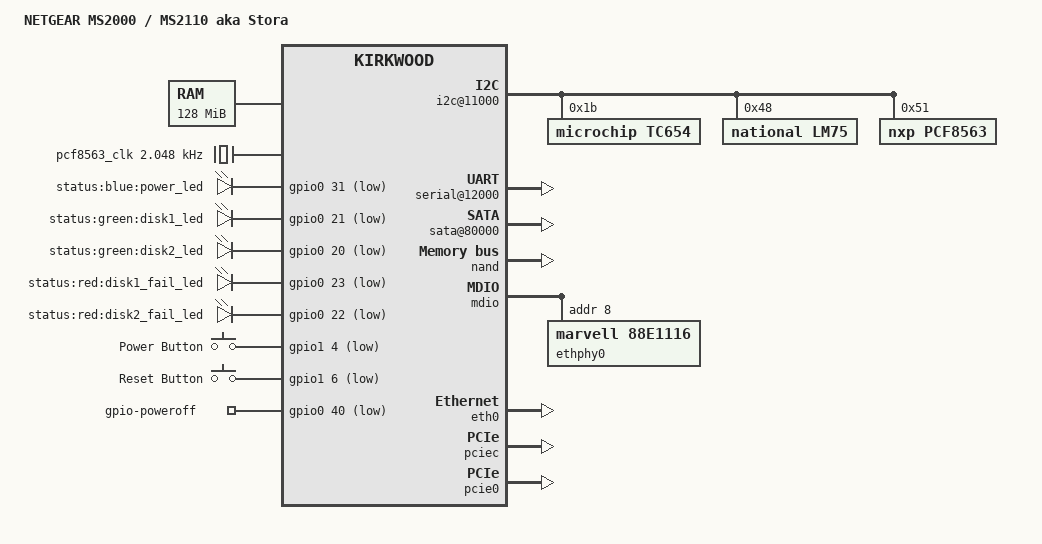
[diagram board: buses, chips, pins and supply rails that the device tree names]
// SPDX-License-Identifier: GPL-2.0+
/*
 * Device Tree file for NETGEAR ReadyNAS NV+ v2
 *
 * Copyright (C) 2013, Arnaud EBALARD <arno@natisbad.org>
 */

/dts-v1/;

#include "kirkwood.dtsi"
#include "kirkwood-6281.dtsi"

/ {
	model = "NETGEAR MS2000 / MS2110 aka Stora";
	compatible = "netgear,stora", "netgear,ms2000", "netgear,ms2110", "marvell,kirkwood-88f6281", "marvell,kirkwood";

	memory { /* 256 MB */
		device_type = "memory";
		reg = <0x00000000 0x8000000>;
	};

	chosen {
		bootargs = "console=ttyS0,115200n8 earlyprintk";
		stdout-path = &uart0;
	};

	ocp@f1000000 {
		pinctrl: pin-controller@10000 {
			pmx_button_power: pmx-button-power {
				marvell,pins = "mpp36";
				marvell,function = "gpio";
			};

			pmx_button_reset: pmx-button-reset {
				marvell,pins = "mpp38";
				marvell,function = "gpio";
			};

			pmx_led_blue_power: pmx-led-blue-power {
				marvell,pins = "mpp32";
				marvell,function = "gpio";
			};

			pmx_led_green_disk1: pmx-led-green-disk1 {
				marvell,pins = "mpp21";
				marvell,function = "gpio";
			};

			pmx_led_green_disk2: pmx-led-green-disk2 {
				marvell,pins = "mpp20";
				marvell,function = "gpio";
			};

			pmx_led_red_disk1: pmx-led-red-disk1 {
				marvell,pins = "mpp23";
				marvell,function = "gpio";
			};

			pmx_led_red_disk2: pmx-led-red-disk2 {
				marvell,pins = "mpp22";
				marvell,function = "gpio";
			};

			pmx_poweroff: pmx-poweroff {
				marvell,pins = "mpp40";
				marvell,function = "gpio";
			};

			pmx_fan_tacho: pmx-fan-tacho {
				marvell,pins = "mpp41";
				marvell,function = "gpio";
			};
		};

		clocks {
			pcf8563_clk: pcf8563-oscillator {
				 compatible = "fixed-clock";
				 #clock-cells = <0>;
				 clock-frequency = <2048>;
			};
		};

		i2c@11000 {
			status = "okay";

			tc654@1b {
				compatible = "microchip,tc654";
				reg = <0x1b>;
			};

			lm75@48 {
				compatible = "national,lm75";
				reg = <0x48>;
			};

			pcf8563@51 {
				compatible = "nxp,pcf8563";
				reg = <0x51>;
			};
		};

		serial@12000 {
			status = "okay";
		};

		sata@80000 {
			status = "okay";
			phy-names = "port0", "port1";
			nr-ports = <2>;
		};
	};

	gpio-leds {
		compatible = "gpio-leds";
		pinctrl-0 = < &pmx_led_blue_power
			      &pmx_led_green_disk1 &pmx_led_green_disk2
			      &pmx_led_red_disk1 &pmx_led_red_disk2 >;
		pinctrl-names = "default";

		power_led {
			label = "status:blue:power_led";
			gpios = <&gpio0 31 GPIO_ACTIVE_LOW>;
			linux,default-trigger = "default-on";
		};

		disk1_led {
			label = "status:green:disk1_led";
			gpios = <&gpio0 21 GPIO_ACTIVE_LOW>;
			linux,default-trigger = "ata1";
		};

		disk2_led {
			label = "status:green:disk2_led";
			gpios = <&gpio0 20 GPIO_ACTIVE_LOW>;
			linux,default-trigger = "ata2";
		};

		disk1_fail_led {
			label = "status:red:disk1_fail_led";
			gpios = <&gpio0 23 GPIO_ACTIVE_LOW>;
		};

		disk2_fail_led {
			label = "status:red:disk2_fail_led";
			gpios = <&gpio0 22 GPIO_ACTIVE_LOW>;
		};
	};

	gpio-keys {
		compatible = "gpio-keys";
		pinctrl-0 = <&pmx_button_power &pmx_button_reset >;
		pinctrl-names = "default";

		power-button {
			label = "Power Button";
			linux,code = <KEY_POWER>;
			gpios = <&gpio1 4 GPIO_ACTIVE_LOW>;
		};

		reset-button {
			label = "Reset Button";
			linux,code = <KEY_RESTART>;
			gpios = <&gpio1 6 GPIO_ACTIVE_LOW>;
		};
	};

	gpio-poweroff {
		compatible = "gpio-poweroff";
		pinctrl-0 = <&pmx_poweroff>;
		pinctrl-names = "default";
		gpios = <&gpio0 40 GPIO_ACTIVE_LOW>;
	};
};

&nand {
	status = "okay";
	chip-delay = <40>;

	partition@0 {
		label = "u-boot";
		reg = <0x0000000 0x180000>;
		read-only;
	};

	partition@180000 {
		label = "u-boot-env";
		reg = <0x0180000 0x020000>;
	};

	partition@200000 {
		label = "ubi";
		reg = <0x0200000 0xfe00000>;
	};
};

&mdio {
	status = "okay";

	ethphy0: ethernet-phy@0 { /* Marvell 88E1318 */
		compatible = "marvell,88e1116";
		reg = <8>;
	};
};

&eth0 {
	status = "okay";

	ethernet0-port@0 {
		phy-handle = <&ethphy0>;
	};
};

&pciec {
        status = "okay";
};

&pcie0 {
	status = "okay";
};
